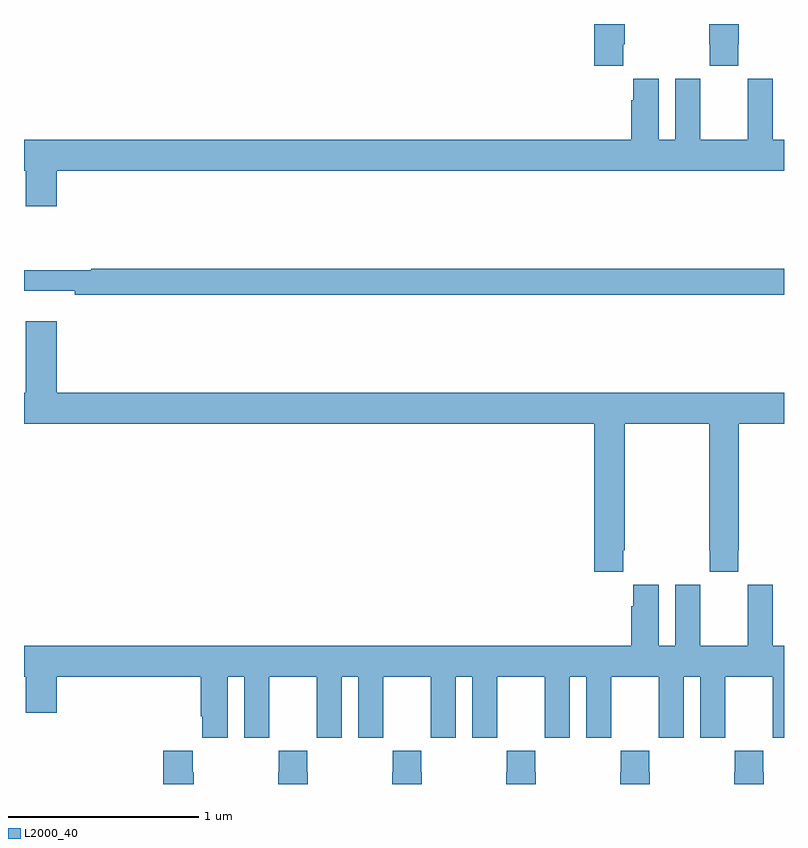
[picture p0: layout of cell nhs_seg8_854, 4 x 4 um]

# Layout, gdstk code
import gdstk
lib = gdstk.Library(unit=1e-6, precision=1e-09)
def P(c, l, *ps):  # polygons
    for p in ps: c.add(gdstk.Polygon(p, *l))
L2000_40 = (2000, 40)

nhs_seg8_854 = lib.new_cell('nhs_seg8_854')
P(nhs_seg8_854, L2000_40, [(168.155,1155.793),(168.162,1155.793),(168.162,1155.9),(168.002,1155.9),(168.002,1155.681),(168.155,1155.681)],
  [(168.759,1155.793),(168.762,1155.793),(168.762,1155.9),(168.607,1155.9),(168.607,1155.793),(168.609,1155.793),(168.609,1155.681),(168.759,1155.681)],
  [(165.172,1155.128),(169,1155.128),(169,1155.292),(168.94,1155.292),(168.94,1155.613),(168.81,1155.613),(168.81,1155.5),(168.809,1155.5),(168.809,1155.292),(168.559,1155.292),(168.559,1155.5),(168.558,1155.5),(168.558,1155.613),(168.428,1155.613),(168.428,1155.292),(168.34,1155.292),(168.34,1155.613),(168.206,1155.613),(168.206,1155.5),(168.197,1155.5),(168.197,1155.292),(165,1155.292),(165,1155.128),(165.008,1155.128),(165.008,1154.94),(165.172,1154.94)],
  [(169,1154.612),(165.355,1154.612),(165.355,1154.605),(165,1154.605),(165,1154.495),(165.268,1154.495),(165.268,1154.476),(169,1154.476)],
  [(168.155,1153.129),(168.162,1153.129),(168.162,1153.796),(168.607,1153.796),(168.607,1153.129),(168.609,1153.129),(168.609,1153.017),(168.759,1153.017),(168.759,1153.129),(168.762,1153.129),(168.762,1153.796),(169,1153.796),(169,1153.96),(165.172,1153.96),(165.172,1154.335),(165.008,1154.335),(165.008,1153.96),(165,1153.96),(165,1153.796),(168.002,1153.796),(168.002,1153.017),(168.155,1153.017)],
  [(166.072,1152.464),(166.16,1152.464),(166.16,1152.144),(166.29,1152.144),(166.29,1152.256),(166.291,1152.256),(166.291,1152.464),(166.541,1152.464),(166.541,1152.256),(166.542,1152.256),(166.542,1152.144),(166.672,1152.144),(166.672,1152.464),(166.76,1152.464),(166.76,1152.144),(166.89,1152.144),(166.89,1152.256),(166.891,1152.256),(166.891,1152.464),(167.141,1152.464),(167.141,1152.256),(167.142,1152.256),(167.142,1152.144),(167.272,1152.144),(167.272,1152.464),(167.36,1152.464),(167.36,1152.144),(167.49,1152.144),(167.49,1152.256),(167.491,1152.256),(167.491,1152.464),(167.741,1152.464),(167.741,1152.256),(167.742,1152.256),(167.742,1152.144),(167.872,1152.144),(167.872,1152.464),(167.96,1152.464),(167.96,1152.144),(168.09,1152.144),(168.09,1152.256),(168.091,1152.256),(168.091,1152.464),(168.341,1152.464),(168.341,1152.256),(168.342,1152.256),(168.342,1152.144),(168.472,1152.144),(168.472,1152.464),(168.56,1152.464),(168.56,1152.144),(168.69,1152.144),(168.69,1152.256),(168.691,1152.256),(168.691,1152.464),(168.941,1152.464),(168.941,1152.256),(168.942,1152.256),(168.942,1152.144),(169,1152.144),(169,1152.628),(168.94,1152.628),(168.94,1152.949),(168.81,1152.949),(168.81,1152.836),(168.809,1152.836),(168.809,1152.628),(168.559,1152.628),(168.559,1152.836),(168.558,1152.836),(168.558,1152.949),(168.428,1152.949),(168.428,1152.628),(168.34,1152.628),(168.34,1152.949),(168.206,1152.949),(168.206,1152.836),(168.197,1152.836),(168.197,1152.628),(165,1152.628),(165,1152.464),(165.008,1152.464),(165.008,1152.276),(165.172,1152.276),(165.172,1152.464),(165.929,1152.464),(165.929,1152.256),(165.938,1152.256),(165.938,1152.144),(166.072,1152.144)],
  [(168.894,1151.963),(168.891,1151.963),(168.891,1152.076),(168.741,1152.076),(168.741,1151.963),(168.739,1151.963),(168.739,1151.9),(168.894,1151.9)],
  [(168.294,1151.963),(168.291,1151.963),(168.291,1152.076),(168.141,1152.076),(168.141,1151.963),(168.139,1151.963),(168.139,1151.9),(168.294,1151.9)],
  [(167.694,1151.963),(167.691,1151.963),(167.691,1152.076),(167.541,1152.076),(167.541,1151.963),(167.539,1151.963),(167.539,1151.9),(167.694,1151.9)],
  [(167.094,1151.963),(167.091,1151.963),(167.091,1152.076),(166.941,1152.076),(166.941,1151.963),(166.939,1151.963),(166.939,1151.9),(167.094,1151.9)],
  [(166.494,1151.963),(166.491,1151.963),(166.491,1152.076),(166.341,1152.076),(166.341,1151.963),(166.339,1151.963),(166.339,1151.9),(166.494,1151.9)],
  [(165.894,1151.963),(165.887,1151.963),(165.887,1152.076),(165.734,1152.076),(165.734,1151.9),(165.894,1151.9)])

lib.write_gds('nhs_seg8_854.gds')
